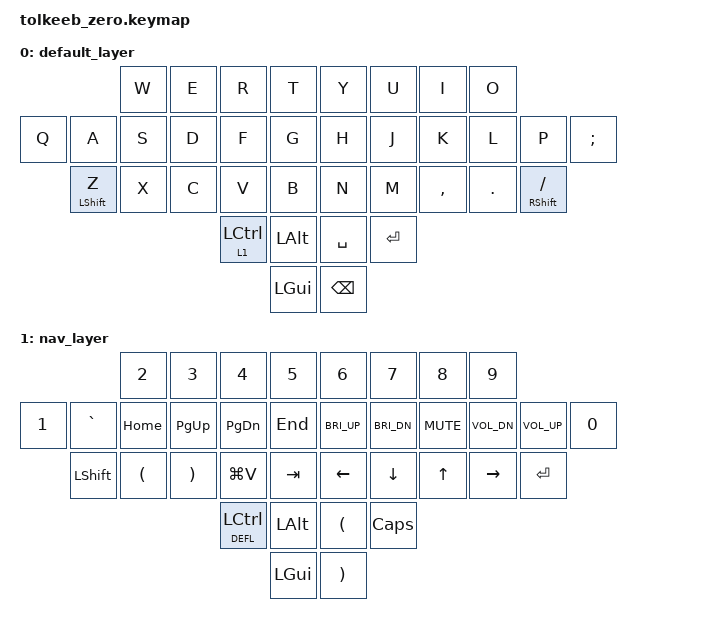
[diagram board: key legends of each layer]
#include <behaviors.dtsi>
#include <dt-bindings/zmk/keys.h>

#define DEFL 0
#define L1 1


/ {
    keymap {
        compatible = "zmk,keymap";

        default_layer {
            bindings = <
                               &kp W       &kp E       &kp R           &kp T             &kp Y          &kp U       &kp I     &kp O
    &kp Q    &kp A             &kp S       &kp D       &kp F           &kp G             &kp H          &kp J       &kp K     &kp L      &kp P             &kp SEMICOLON
             &mt LSHIFT Z      &kp X       &kp C       &kp V           &kp B             &kp N          &kp M       &kp COMMA &kp DOT    &mt RSHIFT SLASH

                                                       &lt L1 LCTRL    &kp LALT          &kp SPACE      &kp ENTER
                                                                       &kp LEFT_GUI      &kp BACKSPACE
            >;
        };

        nav_layer {
            bindings = <
                            &kp N2      &kp N3        &kp N4           &kp N5            &kp N6        &kp N7         &kp N8       &kp N9
    &kp N1   &kp GRAVE      &kp HOME    &kp PAGE_UP   &kp PAGE_DOWN    &kp END           &kp C_BRI_UP  &kp C_BRI_DN   &kp C_MUTE   &kp C_VOL_DN     &kp C_VOL_UP  &kp N0
             &kp LSHIFT     &kp LPAR    &kp RPAR      &kp LG(V)        &kp TAB           &kp LEFT      &kp DOWN       &kp UP       &kp RIGHT        &kp ENTER

                                                      &lt DEFL LCTRL   &kp LALT          &kp LPAR      &kp CAPS
                                                                       &kp LEFT_GUI      &kp RPAR 
            >;
        };
    };
};
